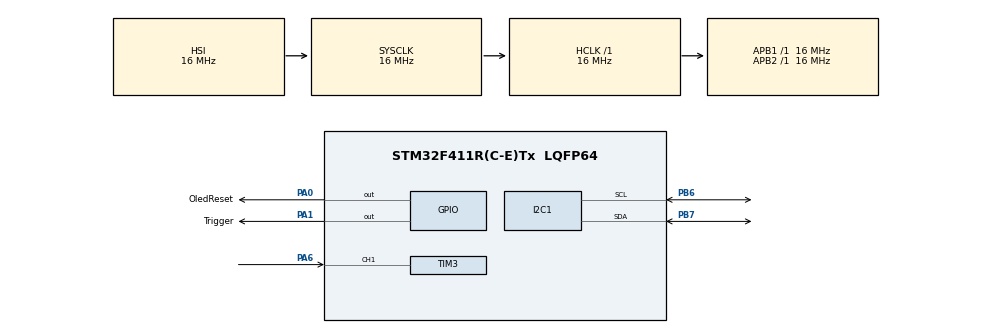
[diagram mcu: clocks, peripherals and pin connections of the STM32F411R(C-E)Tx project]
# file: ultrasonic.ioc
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I2C1.I2C_Mode=I2C_Fast
Mcu.Family=STM32F4
Mcu.Name=STM32F411R(C-E)Tx
Mcu.Package=LQFP64
NVIC.PriorityGroup=NVIC_PRIORITYGROUP_4
NVIC.TIM3_IRQn=true\:0\:0\:false\:false\:true\:true\:true\:true
PA0-WKUP.GPIO_Label=OledReset
PA0-WKUP.Signal=GPIO_Output
PA1.GPIO_Label=Trigger
PA1.Signal=GPIO_Output
PA6.Signal=S_TIM3_CH1
PB6.Mode=I2C
PB6.Signal=I2C1_SCL
PB7.Mode=I2C
PB7.Signal=I2C1_SDA
ProjectManager.HeapSize=0x200
ProjectManager.StackSize=0x400
ProjectManager.TargetToolchain=STM32CubeIDE
RCC.AHBFreq_Value=16000000
RCC.APB1Freq_Value=16000000
RCC.APB2Freq_Value=16000000
RCC.CortexFreq_Value=16000000
RCC.HSE_VALUE=25000000
RCC.HSI_VALUE=16000000
RCC.LSE_VALUE=32768
RCC.SYSCLKFreq_VALUE=16000000
RCC.VCOOutputFreq_Value=192000000
SH.S_TIM3_CH1.0=TIM3_CH1,Input_Capture1_from_TI1
TIM3.Channel-Input_Capture1_from_TI1=TIM_CHANNEL_1
TIM3.Period=0xffff-1
TIM3.Prescaler=15
VP_TIM3_VS_ClockSourceINT.Mode=Internal
board=custom

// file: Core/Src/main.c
/* USER CODE BEGIN Header */
/**
  ******************************************************************************
  * @file           : main.c
  * @brief          : Main program body
  ******************************************************************************
  * @attention
  *
  * Copyright (c) 2023 STMicroelectronics.
  * All rights reserved.
  *
  * This software is licensed under terms that can be found in the LICENSE file
  * in the root directory of this software component.
  * If no LICENSE file comes with this software, it is provided AS-IS.
  *
  ******************************************************************************
  */
/* USER CODE END Header */
#include "main.h"

/* USER CODE BEGIN Includes */
#include "ssd1306.h"

/* USER CODE END Includes */

I2C_HandleTypeDef hi2c1;

TIM_HandleTypeDef htim3;

void SystemClock_Config(void);
static void MX_GPIO_Init(void);
static void MX_I2C1_Init(void);
static void MX_TIM3_Init(void);

/* USER CODE BEGIN 0 */

uint32_t IC_Val1=0;
uint32_t IC_Val2=0;
uint32_t Difference = 0;
uint32_t IsFirstCaptured = 0;
uint32_t Distance =0;

void delay_us(uint16_t time)
{
	//__HAL_TIM_SET_COUNTER(&hrim,0); // 아래와 같은거
	htim3.Instance->CNT =0;
	while(htim3.Instance->CNT < time);
}

void 	HAL_TIM_IC_CaptureCallback(TIM_HandleTypeDef *htim)
{
	if(htim->Channel == HAL_TIM_ACTIVE_CHANNEL_1)
		{
			if(IsFirstCaptured == 0)
				{
					IC_Val1 = HAL_TIM_ReadCapturedValue(&htim3, TIM_CHANNEL_1);
					IsFirstCaptured = 1;
					__HAL_TIM_SET_CAPTUREPOLARITY(htim,TIM_CHANNEL_1,TIM_INPUTCHANNELPOLARITY_FALLING);
				}
			else if (IsFirstCaptured == 1)
				{
					IC_Val2 = HAL_TIM_ReadCapturedValue(&htim3, TIM_CHANNEL_1);
					htim->Instance->CNT = 0;
					if(IC_Val2> IC_Val1)
						{
							Difference =IC_Val2-IC_Val1;
						}
					else if (IC_Val2 < IC_Val1)
						{
							Difference = (0xffff-IC_Val1)+IC_Val2;
						}
					Distance = Difference*0.034/2;
					IsFirstCaptured=0;
					__HAL_TIM_SET_CAPTUREPOLARITY(htim,TIM_CHANNEL_1,TIM_INPUTCHANNELPOLARITY_RISING);
					__HAL_TIM_DISABLE_IT(htim,TIM_IT_CC1);
				}
		}
}
uint32_t getDistance()
{
	HAL_GPIO_WritePin(Trigger_GPIO_Port, Trigger_Pin, 1);
	delay_us(10);
	HAL_GPIO_WritePin(Trigger_GPIO_Port, Trigger_Pin, 0);

	__HAL_TIM_ENABLE_IT(&htim3, TIM_IT_CC1);
	return Distance;
}
/* USER CODE END 0 */

int main(void)
{

  /* MCU Configuration--------------------------------------------------------*/

  /* Reset of all peripherals, Initializes the Flash interface and the Systick. */
  HAL_Init();

  /* Configure the system clock */
  SystemClock_Config();

  /* Initialize all configured peripherals */
  MX_GPIO_Init();
  MX_I2C1_Init();
  MX_TIM3_Init();
  /* USER CODE BEGIN 2 */
  ssd1306_Init();
  HAL_TIM_IC_Start_IT(&htim3, TIM_CHANNEL_1);

  /* USER CODE END 2 */

  /* Infinite loop */
  while (1)
  {

    /* USER CODE BEGIN 3 */
  		/*ssd1306_SetCursor(50, 20);
  		char str[20];
  		sprintf(str,"%4d",getDistance());
  		ssd1306_WriteString(str, Font_11x18, 1);*/

  		softscrollLeft();
  		ssd1306_DrawPixel(127, getDistance(), 1);
  		ssd1306_UpdateScreen();
  		HAL_Delay(200);
  }
  /* USER CODE END 3 */
}

void SystemClock_Config(void)
{
  RCC_OscInitTypeDef RCC_OscInitStruct = {0};
  RCC_ClkInitTypeDef RCC_ClkInitStruct = {0};

  /** Configure the main internal regulator output voltage
  */
  __HAL_RCC_PWR_CLK_ENABLE();
  __HAL_PWR_VOLTAGESCALING_CONFIG(PWR_REGULATOR_VOLTAGE_SCALE1);

  /** Initializes the RCC Oscillators according to the specified parameters
  * in the RCC_OscInitTypeDef structure.
  */
  RCC_OscInitStruct.OscillatorType = RCC_OSCILLATORTYPE_HSI;
  RCC_OscInitStruct.HSIState = RCC_HSI_ON;
  RCC_OscInitStruct.HSICalibrationValue = RCC_HSICALIBRATION_DEFAULT;
  RCC_OscInitStruct.PLL.PLLState = RCC_PLL_NONE;
  if (HAL_RCC_OscConfig(&RCC_OscInitStruct) != HAL_OK)
  {
    Error_Handler();
  }

  /** Initializes the CPU, AHB and APB buses clocks
  */
  RCC_ClkInitStruct.ClockType = RCC_CLOCKTYPE_HCLK|RCC_CLOCKTYPE_SYSCLK
                              |RCC_CLOCKTYPE_PCLK1|RCC_CLOCKTYPE_PCLK2;
  RCC_ClkInitStruct.SYSCLKSource = RCC_SYSCLKSOURCE_HSI;
  RCC_ClkInitStruct.AHBCLKDivider = RCC_SYSCLK_DIV1;
  RCC_ClkInitStruct.APB1CLKDivider = RCC_HCLK_DIV1;
  RCC_ClkInitStruct.APB2CLKDivider = RCC_HCLK_DIV1;

  if (HAL_RCC_ClockConfig(&RCC_ClkInitStruct, FLASH_LATENCY_0) != HAL_OK)
  {
    Error_Handler();
  }
}

static void MX_I2C1_Init(void)
{

  hi2c1.Instance = I2C1;
  hi2c1.Init.ClockSpeed = 400000;
  hi2c1.Init.DutyCycle = I2C_DUTYCYCLE_2;
  hi2c1.Init.OwnAddress1 = 0;
  hi2c1.Init.AddressingMode = I2C_ADDRESSINGMODE_7BIT;
  hi2c1.Init.DualAddressMode = I2C_DUALADDRESS_DISABLE;
  hi2c1.Init.OwnAddress2 = 0;
  hi2c1.Init.GeneralCallMode = I2C_GENERALCALL_DISABLE;
  hi2c1.Init.NoStretchMode = I2C_NOSTRETCH_DISABLE;
  if (HAL_I2C_Init(&hi2c1) != HAL_OK)
  {
    Error_Handler();
  }

}

static void MX_TIM3_Init(void)
{

  TIM_ClockConfigTypeDef sClockSourceConfig = {0};
  TIM_MasterConfigTypeDef sMasterConfig = {0};
  TIM_IC_InitTypeDef sConfigIC = {0};

  htim3.Instance = TIM3;
  htim3.Init.Prescaler = 15;
  htim3.Init.CounterMode = TIM_COUNTERMODE_UP;
  htim3.Init.Period = 0xffff-1;
  htim3.Init.ClockDivision = TIM_CLOCKDIVISION_DIV1;
  htim3.Init.AutoReloadPreload = TIM_AUTORELOAD_PRELOAD_DISABLE;
  if (HAL_TIM_Base_Init(&htim3) != HAL_OK)
  {
    Error_Handler();
  }
  sClockSourceConfig.ClockSource = TIM_CLOCKSOURCE_INTERNAL;
  if (HAL_TIM_ConfigClockSource(&htim3, &sClockSourceConfig) != HAL_OK)
  {
    Error_Handler();
  }
  if (HAL_TIM_IC_Init(&htim3) != HAL_OK)
  {
    Error_Handler();
  }
  sMasterConfig.MasterOutputTrigger = TIM_TRGO_RESET;
  sMasterConfig.MasterSlaveMode = TIM_MASTERSLAVEMODE_DISABLE;
  if (HAL_TIMEx_MasterConfigSynchronization(&htim3, &sMasterConfig) != HAL_OK)
  {
    Error_Handler();
  }
  sConfigIC.ICPolarity = TIM_INPUTCHANNELPOLARITY_RISING;
  sConfigIC.ICSelection = TIM_ICSELECTION_DIRECTTI;
  sConfigIC.ICPrescaler = TIM_ICPSC_DIV1;
  sConfigIC.ICFilter = 0;
  if (HAL_TIM_IC_ConfigChannel(&htim3, &sConfigIC, TIM_CHANNEL_1) != HAL_OK)
  {
    Error_Handler();
  }

}

static void MX_GPIO_Init(void)
{
  GPIO_InitTypeDef GPIO_InitStruct = {0};

  /* GPIO Ports Clock Enable */
  __HAL_RCC_GPIOA_CLK_ENABLE();
  __HAL_RCC_GPIOB_CLK_ENABLE();

  /*Configure GPIO pin Output Level */
  HAL_GPIO_WritePin(GPIOA, OledReset_Pin|Trigger_Pin, GPIO_PIN_RESET);

  /*Configure GPIO pins : OledReset_Pin Trigger_Pin */
  GPIO_InitStruct.Pin = OledReset_Pin|Trigger_Pin;
  GPIO_InitStruct.Mode = GPIO_MODE_OUTPUT_PP;
  GPIO_InitStruct.Pull = GPIO_NOPULL;
  GPIO_InitStruct.Speed = GPIO_SPEED_FREQ_LOW;
  HAL_GPIO_Init(GPIOA, &GPIO_InitStruct);

}

void Error_Handler(void)
{
  __disable_irq();
  while (1)
  {
  }
}
